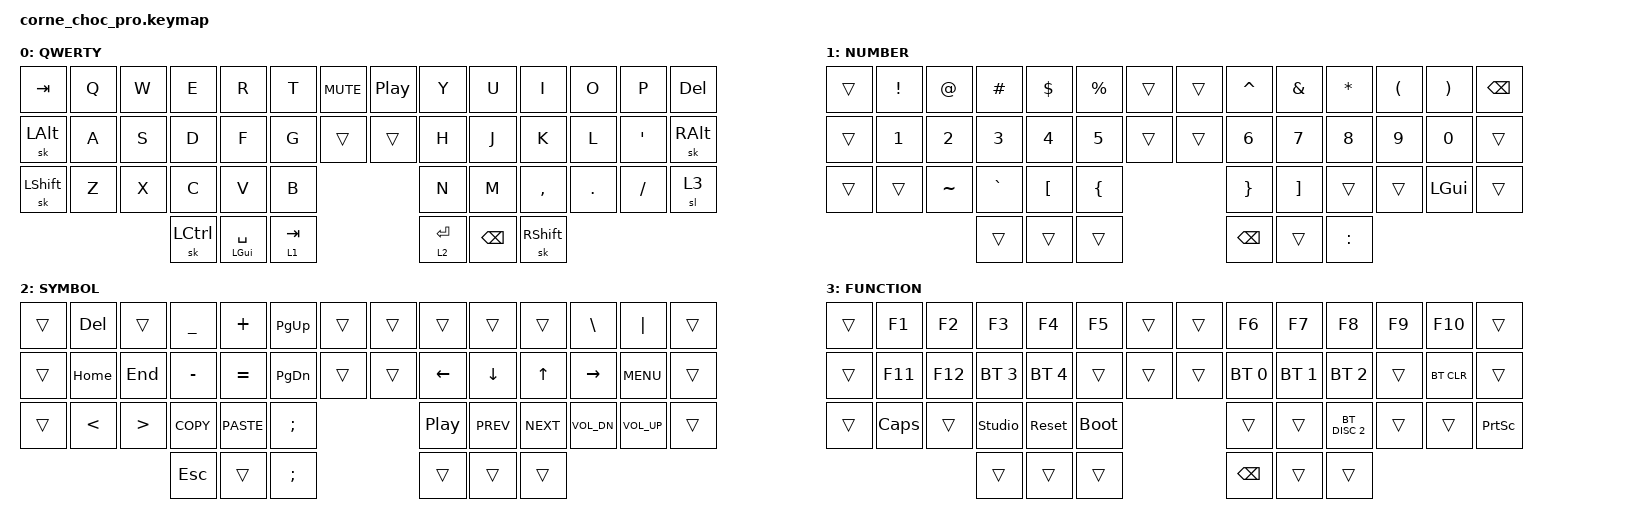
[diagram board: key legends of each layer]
/*
 * Copyright (c) 2020 The ZMK Contributors
 *
 * SPDX-License-Identifier: MIT
 */

#include <behaviors.dtsi>
#include <dt-bindings/zmk/bt.h>
#include <dt-bindings/zmk/keys.h>

/ {
    chosen { zmk,physical-layout = &default_layout; };
};

/ {
    keymap {
        compatible = "zmk,keymap";

        default_layer {
            display-name = "QWERTY";

            // ┌────────┬───┬───┬───┬───┬───┬────────┬────────┬───┬───┬───┬───┬───┬─────┐
            // │  TAB   │ Q │ W │ E │ R │ T │  MUTE  │  C_PP  │ Y │ U │ I │ O │ P │ DEL │
            // ├────────┼───┼───┼───┼───┼───┼────────┼────────┼───┼───┼───┼───┼───┼─────┤
            // │sk LALT │ A │ S │ D │ F │ G │        │        │ H │ J │ K │ L │ ' │skRALT
            // ├────────┼───┼───┼───┼───┼───┴────────┴────────┴───┼───┼───┼───┼───┼─────┤
            // │skLSHFT │ Z │ X │ C │ V │ B                       │ N │ M │ , │ . │ / │sl(3)│
            // └────────┴───┴───┴───┴───┴─────────────────────────┴───┴───┴───┴───┴─────┘
            //               │skLCTRL│mt(LGUI,ENT)│lt(1,;)│  │lt(2,⌫)│ SPC │skRSHFT│

            bindings = <
&kp TAB    &kp Q  &kp W  &kp E      &kp R               &kp T      &kp K_MUTE  &kp C_PP  &kp Y        &kp U          &kp I      &kp O    &kp P     &kp DELETE
&sk LALT   &kp A  &kp S  &kp D      &kp F               &kp G      &trans      &trans    &kp H        &kp J          &kp K      &kp L    &kp SQT   &sk RALT
&sk LSHFT  &kp Z  &kp X  &kp C      &kp V               &kp B                            &kp N        &kp M          &kp COMMA  &kp DOT  &kp FSLH  &sl 3
                         &sk LCTRL  &mt LEFT_GUI SPACE  &lt 1 TAB                        &lt 2 ENTER  &kp BACKSPACE  &sk RSHFT
            >;
        };

        lower_layer {
            display-name = "NUMBER";

            // ┌───────┬───┬───┬───┬───┬───┬───┬───┬───┬───┬───┬───┬───┬────┐
            // │       │ ! │ @ │ # │ $ │ % │   │   │ ^ │ & │ * │ ( │ ) │BSPC│
            // ├───────┼───┼───┼───┼───┼───┼───┼───┼───┼───┼───┼───┼───┼────┤
            // │       │ 1 │ 2 │ 3 │ 4 │ 5 │   │   │ 6 │ 7 │ 8 │ 9 │ 0 │    │
            // ├───────┼───┼───┼───┼───┼───┴───┴───┴───┼───┼───┼───┼───┼────┤
            // │       │   │ ~ │ ` │ [ │ {             │ } │ ] │   │   │WIN│  │
            // └───────┴───┴───┴───┴───┴───────────────┴───┴───┴───┴───┴────┘
            //               │       │            │       │  │  BSPC │     │ : │

            bindings = <
&trans  &kp EXCL  &kp AT     &kp HASH   &kp DLLR  &kp PRCNT  &trans  &trans  &kp CARET  &kp AMPS  &kp ASTRK  &kp LPAR  &kp RPAR  &kp BSPC
&trans  &kp N1    &kp N2     &kp N3     &kp N4    &kp N5     &trans  &trans  &kp N6     &kp N7    &kp N8     &kp N9    &kp N0    &trans
&trans  &trans    &kp TILDE  &kp GRAVE  &kp LBKT  &kp LBRC                   &kp RBRC   &kp RBKT  &trans     &trans    &kp LGUI  &trans
                             &trans     &trans    &trans                     &kp BSPC   &trans    &kp COLON
            >;
        };

        raise_layer {
            display-name = "SYMBOL";

            // ┌───────┬─────┬─────┬─────┬──────┬──────┬───┬───┬─────┬─────┬─────┬─────┬──────┬───┐
            // │       │ DEL │     │  _  │  +   │ PGUP │   │   │     │     │     │  \  │  |   │   │
            // ├───────┼─────┼─────┼─────┼──────┼──────┼───┼───┼─────┼─────┼─────┼─────┼──────┼───┤
            // │       │HOME │ END │  -  │  =   │ PGDN │   │   │  ←  │  ↓  │  ↑  │  →  │ MENU │   │
            // ├───────┼─────┼─────┼─────┼──────┼──────┴───┴───┼─────┼─────┼─────┼─────┼──────┼───┤
            // │       │  <  │  >  │COPY │PASTE │  ;            │ ⏯  │ ⏮  │ ⏭  │ V-  │ V+   │   │
            // └───────┴─────┴─────┴─────┴──────┴──────────────┴─────┴─────┴─────┴─────┴──────┴───┘
            //               │  ESC  │            │  ;    │  │       │     │       │

            bindings = <
&trans  &kp DELETE     &trans            &kp UNDER   &kp PLUS     &kp PG_UP  &trans  &trans  &trans            &trans      &trans      &kp BSLH      &kp PIPE      &trans
&trans  &kp HOME       &kp END           &kp MINUS   &kp EQUAL    &kp PG_DN  &trans  &trans  &kp LEFT          &kp DOWN    &kp UP      &kp RIGHT     &kp K_MENU    &trans
&trans  &kp LESS_THAN  &kp GREATER_THAN  &kp K_COPY  &kp K_PASTE  &kp SEMI                   &kp C_PLAY_PAUSE  &kp C_PREV  &kp C_NEXT  &kp C_VOL_DN  &kp C_VOL_UP  &trans
                                         &kp ESC     &trans       &kp SEMI                   &trans            &trans      &trans
            >;
        };

        function_layer {
            display-name = "FUNCTION";

            // ┌───┬────┬────┬────────┬────────┬────┬───┬───┬──────┬──────┬──────┬────┬──────┬──────┐
            // │   │ F1 │ F2 │   F3   │   F4   │ F5 │   │   │  F6  │  F7  │  F8  │ F9 │ F10  │      │
            // ├───┼────┼────┼────────┼────────┼────┼───┼───┼──────┼──────┼──────┼────┼──────┼──────┤
            // │   │F11 │F12 │ BT_S3  │ BT_S4  │    │   │   │ BT_0 │ BT_1 │ BT_2 │    │BT_CLR│      │
            // ├───┼────┼────┼────────┼────────┼────┴───┴───┼──────┼──────┼──────┼────┼──────┼──────┤
            // │   │CAPS│    │UNLOCK  │SYS_RST │BOOT        │      │      │BT_D2 │    │      │ PSCR │
            // └───┴────┴────┴────────┴────────┴────────────┴──────┴──────┴──────┴────┴──────┴──────┘
            //               │       │            │       │  │  BSPC │     │       │

            bindings = <
&trans  &kp F1    &kp F2   &kp F3          &kp F4        &kp F5       &trans  &trans  &kp F6        &kp F7        &kp F8         &kp F9  &kp F10     &trans
&trans  &kp F11   &kp F12  &bt BT_SEL 3    &bt BT_SEL 4  &trans       &trans  &trans  &bt BT_SEL 0  &bt BT_SEL 1  &bt BT_SEL 2   &trans  &bt BT_CLR  &trans
&trans  &kp CAPS  &trans   &studio_unlock  &sys_reset    &bootloader                  &trans        &trans        &bt BT_DISC 2  &trans  &trans      &kp PSCRN
                           &trans          &trans        &trans                       &kp BSPC      &trans        &trans
            >;
        };
    };
};
